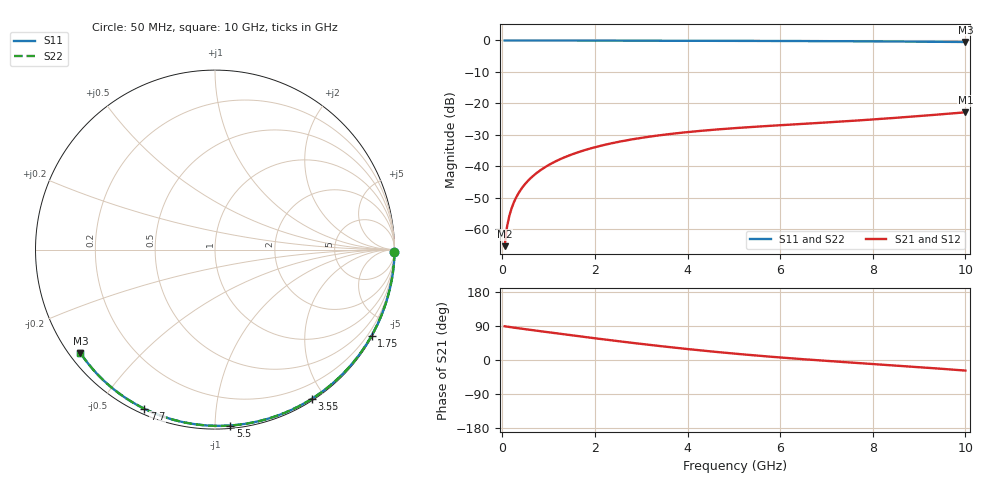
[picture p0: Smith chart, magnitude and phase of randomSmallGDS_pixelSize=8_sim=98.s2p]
! freq	dB(S11)	phase(S11)	dB(S12)	phase(S12)
!  dB(S21)	phase(S21)	dB(S22)	phase(S22)
!S-par simulation data
#  GHz  S  DB  R 50
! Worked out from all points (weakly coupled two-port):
!   200 points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, 50 MHz to 10 GHz, reference 50 ohm
!   highest |S21| = -22.83 dB at 10 GHz (marker M1); lowest = -65.4 dB at 50 MHz (marker M2)
!   lowest |S11| = -0.5 dB at 10 GHz (marker M3), VSWR 35.76, Z = 1.56 - j17 ohm
!   |S11| at or under -10 dB: nowhere
!   |S22| runs from -0.5 to 0.0 dB; largest |S21 - S12| = 0
!   S11 on the Smith chart (normalised r, x): 50 MHz: open; 1.75 GHz: 0.03, -3.89; 3.55 GHz: 0.02, -1.84; 5.5 GHz: 0.02, -1.09; 7.7 GHz: 0.02, -0.65; 10 GHz: 0.03, -0.34
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0.05  -0.00 -0.8  -65.35 89.0  -65.35 89.0  -0.00 -0.8
0.1  -0.00 -1.7  -59.34 88.1  -59.34 88.1  -0.00 -1.7
0.15  -0.00 -2.5  -55.83 87.2  -55.83 87.2  -0.00 -2.5
0.2  -0.00 -3.4  -53.35 86.3  -53.35 86.3  -0.00 -3.4
0.25  -0.00 -4.2  -51.43 85.4  -51.43 85.4  -0.00 -4.2
0.35  -0.00 -5.9  -48.53 83.7  -48.53 83.7  -0.00 -5.9
0.5  -0.01 -8.4  -45.48 81.2  -45.48 81.2  -0.01 -8.4
0.7  -0.01 -11.7  -42.60 78.0  -42.60 78.0  -0.01 -11.7
1  -0.02 -16.6  -39.58 73.2  -39.58 73.2  -0.02 -16.6
1.35  -0.03 -22.3  -37.08 67.6  -37.08 67.6  -0.03 -22.3
1.75  -0.04 -28.8  -34.98 61.2  -34.98 61.2  -0.04 -28.8
2.5  -0.05 -40.8  -32.24 49.7  -32.24 49.7  -0.05 -40.8
3.4  -0.08 -54.7  -30.12 36.9  -30.12 36.9  -0.08 -54.7
3.55  -0.08 -56.9  -29.84 34.8  -29.84 34.8  -0.08 -56.9
4.3  -0.10 -68.0  -28.70 25.2  -28.70 25.2  -0.10 -68.0
5.05  -0.12 -78.8  -27.82 16.4  -27.82 16.4  -0.12 -78.8
5.5  -0.14 -85.0  -27.38 11.6  -27.38 11.6  -0.14 -85.0
6.7  -0.20 -101.1  -26.32 0.3  -26.32 0.3  -0.20 -101.1
7.7  -0.26 -114.0  -25.40 -8.1  -25.40 -8.1  -0.26 -114.0
8.35  -0.32 -122.1  -24.73 -13.4  -24.73 -13.4  -0.32 -122.1
9.2  -0.40 -132.6  -23.78 -20.6  -23.78 -20.6  -0.40 -132.6
10  -0.49 -142.5  -22.83 -27.9  -22.83 -27.9  -0.49 -142.5
